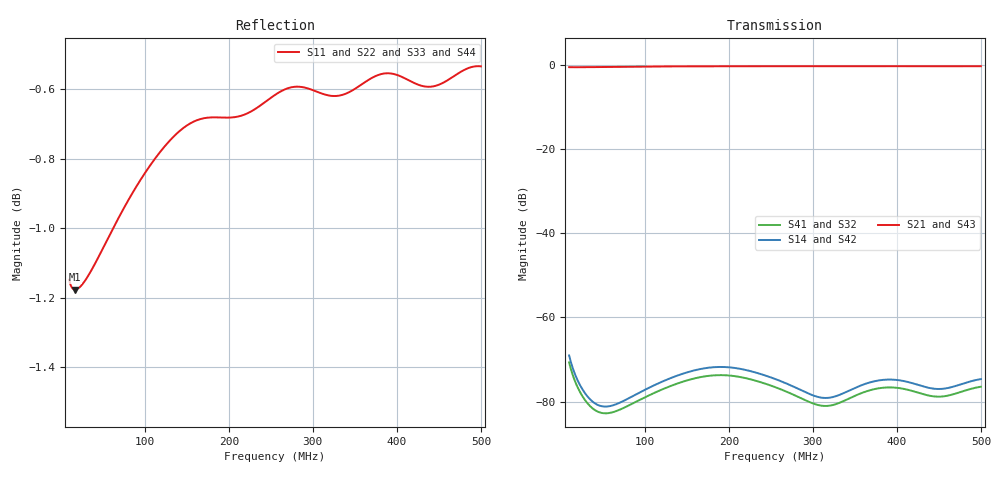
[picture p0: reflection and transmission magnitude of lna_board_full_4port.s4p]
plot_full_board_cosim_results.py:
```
import matplotlib.pyplot as plt
import numpy as np
import os
from parse_qucs import parse_qucs_dat
import skrf as rf

print("Generating full-board co-simulation comparison plots...")

# 1. Load data
freqs_fb, data_fb = parse_qucs_dat("lna_fm_98mhz_full_board_cosim.dat")
freqs_fb = np.array(freqs_fb) / 1e6 # MHz

s11_fb = np.array(data_fb["S[1,1]"])
s21_fb = np.array(data_fb["S[2,1]"])
s12_fb = np.array(data_fb["S[1,2]"])
s22_fb = np.array(data_fb["S[2,2]"])

# Load Option A data
freqs_oa, data_oa = parse_qucs_dat("lna_fm_98mhz_cosim.dat")
freqs_oa = np.array(freqs_oa) / 1e6 # MHz
s11_oa = np.array(data_oa["S[1,1]"])
s21_oa = np.array(data_oa["S[2,1]"])

# Load Baseline data
freqs_base, data_base = parse_qucs_dat("lna_fm_98mhz_qucs.dat")
freqs_base = np.array(freqs_base) / 1e6 # MHz
s11_base = np.array(data_base["S[1,1]"])
s21_base = np.array(data_base["S[2,1]"])

# Load 4-port S-parameters directly for cross-talk
nw_4p = rf.Network("lna_board_full_4port.s4p")
f_4p = nw_4p.f / 1e6
s31_iso = 20 * np.log10(np.abs(nw_4p.s[:, 2, 0]))
s41_iso = 20 * np.log10(np.abs(nw_4p.s[:, 3, 0]))

# Stability for full board
delta_fb = s11_fb * s22_fb - s12_fb * s21_fb
k_fb = (1.0 - np.abs(s11_fb)**2 - np.abs(s22_fb)**2 + np.abs(delta_fb)**2) / (2.0 * np.abs(s12_fb * s21_fb))

# Create 2x2 multi-panel figure
plt.style.use('seaborn-v0_8-whitegrid' if 'seaborn-v0_8-whitegrid' in plt.style.available else 'default')
fig, axs = plt.subplots(2, 2, figsize=(15, 11), dpi=300)

# Panel 1: Gain S21 (dB)
ax1 = axs[0, 0]
ax1.plot(freqs_fb, 20*np.log10(np.abs(s21_fb)), 'r-', lw=2.5, label="Full-Board 4-Port EM Co-Sim (.s4p)")
ax1.plot(freqs_oa, 20*np.log10(np.abs(s21_oa)), 'g--', lw=2.0, label="Option A Hierarchical EM Co-Sim (.s2p)")
ax1.plot(freqs_base, 20*np.log10(np.abs(s21_base)), 'b:', lw=1.8, label="Ideal Schematic Baseline")

idx_98 = np.argmin(np.abs(freqs_fb - 98.0))
g_98 = 20*np.log10(np.abs(s21_fb[idx_98]))
ax1.plot(98.0, g_98, 'ro', markersize=8)
ax1.annotate(f"98 MHz: {g_98:+.2f} dB", xy=(98.0, g_98), xytext=(120, g_98 + 1.5),
             arrowprops=dict(facecolor='red', shrink=0.08, width=1.5, headwidth=6),
             fontsize=10, fontweight='bold', bbox=dict(boxstyle='round,pad=0.3', facecolor='yellow', alpha=0.6))

ax1.set_title("Forward Gain |S21| vs Frequency (10 - 500 MHz)", fontsize=12, fontweight='bold')
ax1.set_xlabel("Frequency (MHz)", fontsize=10)
ax1.set_ylabel("Gain (dB)", fontsize=10)
ax1.set_xlim(10, 500)
ax1.set_ylim(-35, 25)
ax1.axvspan(88, 108, color='orange', alpha=0.15, label="FM Broadcast Band (88-108 MHz)")
ax1.legend(loc="lower right", fontsize=9)
ax1.grid(True, linestyle='--', alpha=0.6)

# Panel 2: Return Loss S11 (dB) & VSWR
ax2 = axs[0, 1]
ax2.plot(freqs_fb, 20*np.log10(np.abs(s11_fb)), 'r-', lw=2.5, label="Full-Board EM |S11|")
ax2.plot(freqs_oa, 20*np.log10(np.abs(s11_oa)), 'g--', lw=2.0, label="Option A |S11|")
ax2.plot(freqs_base, 20*np.log10(np.abs(s11_base)), 'b:', lw=1.8, label="Ideal Baseline |S11|")

rl_98 = 20*np.log10(np.abs(s11_fb[idx_98]))
vswr_98 = (1 + np.abs(s11_fb[idx_98])) / (1 - np.abs(s11_fb[idx_98]))
ax2.plot(98.0, rl_98, 'ro', markersize=8)
ax2.annotate(f"98 MHz: {rl_98:.1f} dB\n(VSWR {vswr_98:.3f}:1)", xy=(98.0, rl_98), xytext=(120, rl_98 + 8),
             arrowprops=dict(facecolor='red', shrink=0.08, width=1.5, headwidth=6),
             fontsize=10, fontweight='bold', bbox=dict(boxstyle='round,pad=0.3', facecolor='cyan', alpha=0.4))

ax2.axhline(-10.0, color='gray', linestyle=':', label="VSWR 2.0:1 (-9.54 dB)")
ax2.axhline(-20.0, color='darkgray', linestyle='--', label="VSWR 1.22:1 (-20 dB)")
ax2.set_title("Input Return Loss |S11| vs Frequency", fontsize=12, fontweight='bold')
ax2.set_xlabel("Frequency (MHz)", fontsize=10)
ax2.set_ylabel("Return Loss (dB)", fontsize=10)
ax2.set_xlim(10, 500)
ax2.set_ylim(-45, 0)
ax2.legend(loc="lower left", fontsize=9)
ax2.grid(True, linestyle='--', alpha=0.6)

# Panel 3: Reverse Isolation S12 & Substrate Cross-Talk S41 / S31
ax3 = axs[1, 0]
ax3.plot(freqs_fb, 20*np.log10(np.abs(s12_fb)), 'm-', lw=2.2, label="LNA Reverse Isolation |S12| (Circuit)")
ax3.plot(f_4p, s31_iso, 'c--', lw=2.0, label="PCB Substrate Near-End Cross-Talk |S31| (EM)")
ax3.plot(f_4p, s41_iso, 'b-.', lw=2.0, label="PCB Substrate Far-End Cross-Talk |S41| (EM)")

ax3.set_title("Reverse Isolation & Substrate Cross-Talk Isolation", fontsize=12, fontweight='bold')
ax3.set_xlabel("Frequency (MHz)", fontsize=10)
ax3.set_ylabel("Isolation (dB)", fontsize=10)
ax3.set_xlim(10, 500)
ax3.set_ylim(-100, -10)
ax3.legend(loc="upper right", fontsize=9)
ax3.grid(True, linestyle='--', alpha=0.6)

# Panel 4: Rollett Stability Factor K & |Delta|
ax4 = axs[1, 1]
ax4.plot(freqs_fb, k_fb, 'darkorange', lw=2.2, label="Rollett Factor K")
ax4.plot(freqs_fb, np.abs(delta_fb), 'purple', lw=2.0, label="|Delta|")
ax4.axhline(1.0, color='red', linestyle='--', label="K = 1.0 (Stability Threshold)")

ax4.set_title("Full-Board Stability Metrics (K & |Delta|)", fontsize=12, fontweight='bold')
ax4.set_xlabel("Frequency (MHz)", fontsize=10)
ax4.set_ylabel("Factor Value", fontsize=10)
ax4.set_xlim(10, 500)
ax4.set_ylim(0, 4.0)
ax4.legend(loc="upper right", fontsize=9)
ax4.grid(True, linestyle='--', alpha=0.6)

plt.suptitle("98 MHz FM Low-Noise Amplifier: Full-Board 3D EM Co-Simulation (openEMS + QUCS)\nOption 1: 4-Port Active-Interface Touchstone S4P Model",
             fontsize=14, fontweight='bold', y=0.98)

plt.tight_layout(rect=[0, 0, 1, 0.95])
out_img = os.path.join("renders", "lna_full_board_cosim_results.png")
plt.savefig(out_img, bbox_inches='tight')
print(f"Saved comparison plot to: {out_img}")
```
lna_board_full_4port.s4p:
! Created with skrf 2.1.0 (http://scikit-rf.org).
# Hz S RI R 50.0
!freq ReS11 ImS11 ReS12 ImS12 ReS13 ImS13
! ReS14 ImS14
! ReS21 ImS21 ReS22 ImS22 ReS23 ImS23
! ReS24 ImS24
! ReS31 ImS31 ReS32 ImS32 ReS33 ImS33
! ReS34 ImS34
! ReS41 ImS41 ReS42 ImS42 ReS43 ImS43
! ReS44 ImS44
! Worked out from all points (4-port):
!   491 points, 10 MHz to 500 MHz, reference 50 ohm
!   strongest paths, dB at 10 MHz, 132 MHz, 255 MHz, 378 MHz, 500 MHz:
!     S21: -0.6, -0.4, -0.3, -0.3, -0.3
!     S43: -0.7, -0.5, -0.4, -0.4, -0.4
!     S14: -69.0, -74.3, -74.6, -75.0, -74.7
!     S42: -69.8, -74.4, -74.6, -75.1, -74.7
!     S41: -70.7, -76.2, -76.6, -76.9, -76.5
!     S32: -70.4, -76.1, -76.6, -76.8, -76.7
!   lowest |S11| = -1.2 dB at 17 MHz (marker M1), VSWR 14.78, Z = 726 + j97.6 ohm
!   |S11| at or under -10 dB: nowhere
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1e7  0.8758 0.026  0.9378 0.0134  -0.000154 -0.00026  -0.000183 -0.000302
     0.9378 0.0134  0.8758 0.026  -0.000154 -0.00026  -0.000175 -0.000273
     -0.000154 -0.00026  -0.000154 -0.00026  0.8452 0.0316  0.9223 0.0163
     -0.000155 -0.000247  -0.000175 -0.000273  0.9223 0.0163  0.8452 0.0316
1.7e7  0.8731 0.0159  0.9363 0.00805  -0.000108 -0.000143  -0.00013 -0.000166
       0.9363 0.00805  0.8731 0.0159  -0.000108 -0.000143  -0.000127 -0.000149
       -0.000108 -0.000143  -0.000108 -0.000143  0.8421 0.0194  0.9206 0.00987
       -0.00011 -0.000135  -0.000127 -0.000149  0.9206 0.00987  0.8421 0.0194
5e8  0.8627 -0.3744  0.9444 -0.1864  0.000127 7.37e-05  0.000164 8.44e-05
     0.9444 -0.1864  0.8627 -0.3744  0.000127 7.37e-05  0.000166 8.2e-05
     0.000127 7.37e-05  0.000127 7.37e-05  0.8052 -0.4587  0.9235 -0.2328
     0.00013 7.53e-05  0.000166 8.2e-05  0.9235 -0.2328  0.8052 -0.4587
